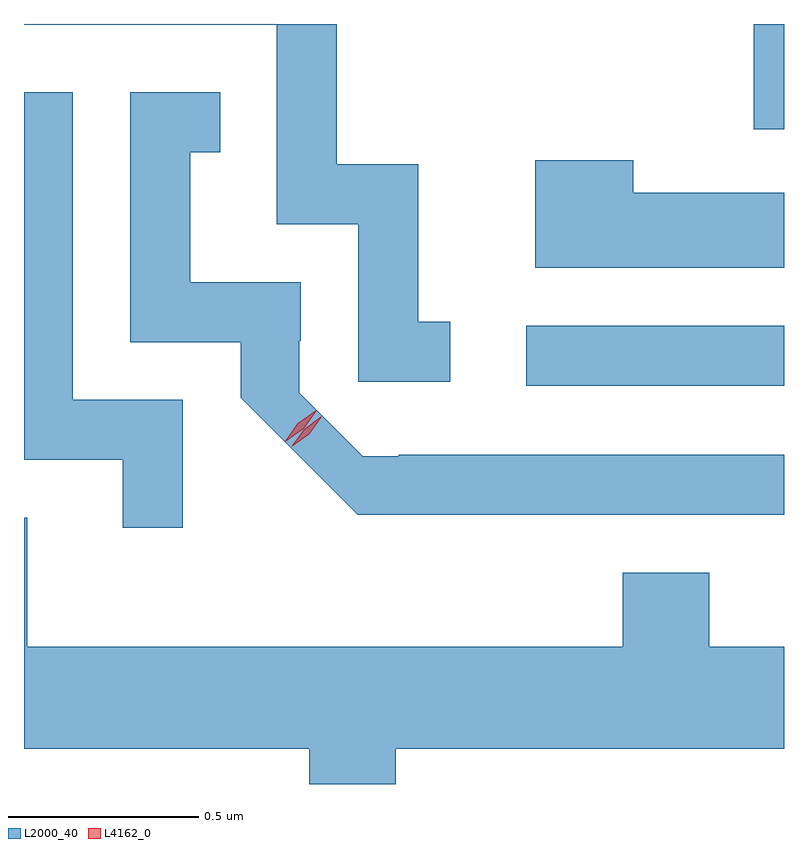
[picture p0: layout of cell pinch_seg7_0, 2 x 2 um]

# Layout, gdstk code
import gdstk
lib = gdstk.Library(unit=1e-6, precision=1e-09)
def R(c, l, rs):  # rectangles x0, y0, x1, y1
    for r in rs: c.add(gdstk.rectangle(r[:2], r[2:], *l))
def P(c, l, *ps):  # polygons
    for p in ps: c.add(gdstk.Polygon(p, *l))
L2000_40 = (2000, 40)
L4162_0 = (4162, 0)

pinch_seg7_0 = lib.new_cell('pinch_seg7_0')
R(pinch_seg7_0, L2000_40, [(1538.363,1733.031,1539.041,1733.189), (1538.961,1733.706,1539.041,1733.983)])
P(pinch_seg7_0, L2000_40, [(1538.163,1733.199),(1538.079,1733.199),(1538.079,1733.614),(1537.864,1733.614),(1537.864,1733.983),(1537.041,1733.983),(1537.041,1733.981),(1537.706,1733.981),(1537.706,1733.456),(1537.921,1733.456),(1537.921,1733.041),(1538.163,1733.041)],
  [(1537.459,1732.994),(1537.169,1732.994),(1537.169,1733.804),(1537.041,1733.804),(1537.041,1732.836),(1537.301,1732.836),(1537.301,1732.658),(1537.459,1732.658)],
  [(1539.041,1732.849),(1538.027,1732.849),(1538.027,1732.845),(1537.933,1732.845),(1537.765,1733.013),(1537.765,1733.15),(1537.769,1733.15),(1537.769,1733.304),(1537.479,1733.304),(1537.479,1733.646),(1537.558,1733.646),(1537.558,1733.804),(1537.321,1733.804),(1537.321,1733.146),(1537.611,1733.146),(1537.611,1732.999),(1537.919,1732.691),(1539.041,1732.691)],
  [(1539.041,1733.539),(1538.644,1733.539),(1538.644,1733.624),(1538.386,1733.624),(1538.386,1733.341),(1539.041,1733.341)],
  [(1538.019,1732.076),(1539.041,1732.076),(1539.041,1732.344),(1538.844,1732.344),(1538.844,1732.539),(1538.616,1732.539),(1538.616,1732.344),(1537.049,1732.344),(1537.049,1732.684),(1537.041,1732.684),(1537.041,1732.076),(1537.791,1732.076),(1537.791,1731.983),(1538.019,1731.983)])
P(pinch_seg7_0, L4162_0, [(1537.728,1732.884),(1537.728,1732.885),(1537.762,1732.932),(1537.81,1732.966),(1537.811,1732.966),(1537.811,1732.966),(1537.777,1732.918),(1537.729,1732.884)],
  [(1537.746,1732.872),(1537.746,1732.872),(1537.778,1732.917),(1537.822,1732.949),(1537.823,1732.949),(1537.823,1732.948),(1537.792,1732.903),(1537.747,1732.872)])

lib.write_gds('pinch_seg7_0.gds')
